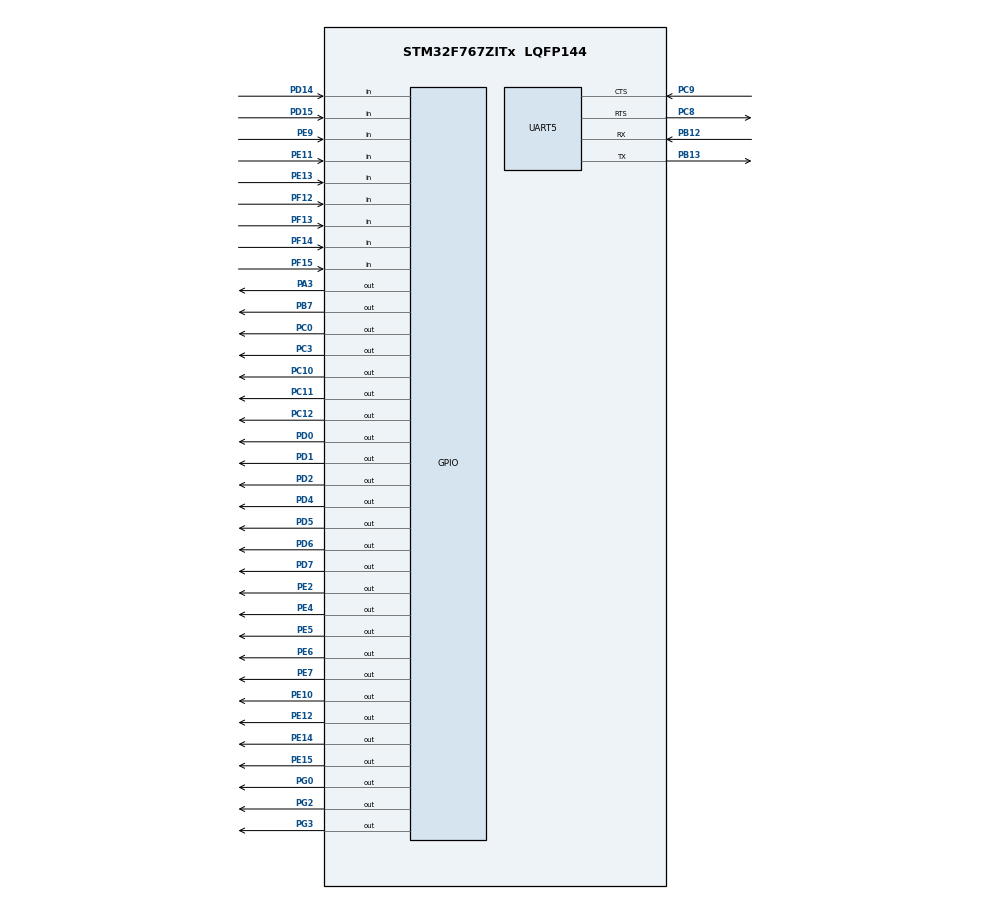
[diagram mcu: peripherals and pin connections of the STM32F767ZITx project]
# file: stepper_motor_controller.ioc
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Mcu.Family=STM32F7
Mcu.Name=STM32F767ZITx
Mcu.Package=LQFP144
NVIC.PriorityGroup=NVIC_PRIORITYGROUP_4
NVIC.UART5_IRQn=true\:0\:0\:false\:false\:true\:true\:true
PA3.Signal=GPIO_Output
PB12.Mode=Asynchronous
PB12.Signal=UART5_RX
PB13.Mode=Asynchronous
PB13.Signal=UART5_TX
PB7.Signal=GPIO_Output
PC0.Signal=GPIO_Output
PC10.Signal=GPIO_Output
PC11.Signal=GPIO_Output
PC12.Signal=GPIO_Output
PC14/OSC32_IN.Mode=LSE-External-Oscillator
PC14/OSC32_IN.Signal=RCC_OSC32_IN
PC15/OSC32_OUT.Mode=LSE-External-Oscillator
PC15/OSC32_OUT.Signal=RCC_OSC32_OUT
PC3.Signal=GPIO_Output
PC8.Mode=CTS_RTS
PC8.Signal=UART5_RTS
PC9.Mode=CTS_RTS
PC9.Signal=UART5_CTS
PD0.Signal=GPIO_Output
PD1.Signal=GPIO_Output
PD14.Signal=GPIO_Input
PD15.Signal=GPIO_Input
PD2.Signal=GPIO_Output
PD4.Signal=GPIO_Output
PD5.Signal=GPIO_Output
PD6.Signal=GPIO_Output
PD7.Signal=GPIO_Output
PE10.Signal=GPIO_Output
PE11.Signal=GPIO_Input
PE12.Signal=GPIO_Output
PE13.Signal=GPIO_Input
PE14.Signal=GPIO_Output
PE15.Signal=GPIO_Output
PE2.Signal=GPIO_Output
PE4.Signal=GPIO_Output
PE5.Signal=GPIO_Output
PE6.Signal=GPIO_Output
PE7.Signal=GPIO_Output
PE9.Signal=GPIO_Input
PF12.Signal=GPIO_Input
PF13.Signal=GPIO_Input
PF14.Signal=GPIO_Input
PF15.Signal=GPIO_Input
PG0.Signal=GPIO_Output
PG2.Signal=GPIO_Output
PG3.Signal=GPIO_Output
PH0/OSC_IN.Mode=HSE-External-Oscillator
PH0/OSC_IN.Signal=RCC_OSC_IN
PH1/OSC_OUT.Mode=HSE-External-Oscillator
PH1/OSC_OUT.Signal=RCC_OSC_OUT
ProjectManager.HeapSize=0x1000
ProjectManager.StackSize=0x400
ProjectManager.TargetToolchain=MDK-ARM V5
RCC.HSE_VALUE=25000000
RCC.HSI_VALUE=16000000
RCC.USBFreq_Value=96000000
RCC.VCOOutputFreq_Value=192000000
board=custom

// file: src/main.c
/* USER CODE BEGIN Header */
/**
  ******************************************************************************
  * @file           : main.c
  * @brief          : Main program body
  ******************************************************************************
  * @attention
  *
  * <h2><center>&copy; Copyright (c) 2019 STMicroelectronics.
  * All rights reserved.</center></h2>
  *
  * This software component is licensed by ST under BSD 3-Clause license,
  * the "License"; You may not use this file except in compliance with the
  * License. You may obtain a copy of the License at:
  *                        opensource.org/licenses/BSD-3-Clause
  *
  ******************************************************************************
  */
/* USER CODE END Header */

#include "main.h"

/* USER CODE BEGIN Includes */
#include "math.h"
#include "arm_math.h"
#include "h_cmd_move.h"

/* USER CODE END Includes */

UART_HandleTypeDef huart5;

/* USER CODE BEGIN PV */
uint8_t Rx_buff[100];
uint8_t Tx_buff[10];
int executionStage = 0;
uint8_t Tx_Pkt_Seq = 0;
/* USER CODE END PV */

void SystemClock_Config(void);
static void MX_GPIO_Init(void);
static void MX_GFXSIMULATOR_Init(void);
static void MX_UART5_Init(void);

/* USER CODE BEGIN 0 */
Pkt_Queue * Pkt_buffer;
/* USER CODE END 0 */

int main(void)
{
  /* USER CODE BEGIN 1 */
	H_CMD * currentPos = (H_CMD *)malloc(sizeof(H_CMD));
	H_CMD_Clear(currentPos);
	currentPos->x = 1;
	currentPos->y = 1;
	currentPos->z = 1;
  /* USER CODE END 1 */

  /* MCU Configuration--------------------------------------------------------*/

  /* Reset of all peripherals, Initializes the Flash interface and the Systick. */
  HAL_Init();

  /* Configure the system clock */
  SystemClock_Config();

  /* Initialize all configured peripherals */
  MX_GPIO_Init();
  MX_GFXSIMULATOR_Init();
  MX_UART5_Init();
  /* USER CODE BEGIN 2 */

	// SETUP BASIC STRUCTURES
	// initialize packet buffer to receive packets from host computer
	Pkt_buffer = (Pkt_Queue *)malloc(sizeof(Pkt_Queue));
	Pkt_Queue_Init(Pkt_buffer);
	// allows UART packets to be received from interrupts
	HAL_UART_Receive_IT(&huart5, (uint8_t *) Rx_buff,6);
	// initialize H_CMD buffer to move stepper motors
	H_CMD_Queue * H_buffer = (H_CMD_Queue *)malloc(sizeof(H_CMD_Queue)*2);
	H_CMD_Queue_Init(H_buffer);
	// initialize stepper motor objects to hold the current stage of motor movement
	Stepper * xStepper = (Stepper *)malloc(sizeof(Stepper));
	Stepper * yStepper = (Stepper *)malloc(sizeof(Stepper));
	Stepper * zStepper = (Stepper *)malloc(sizeof(Stepper));
	xStepper_Init(xStepper);
	yStepper_Init(yStepper);
	zStepper_Init(zStepper);
	motorsRelax(xStepper,yStepper,zStepper);

  /* USER CODE END 2 */

  /* Infinite loop */
  /* USER CODE BEGIN WHILE */
  while (1)
  {
		Pkt_Queue_Init(Pkt_buffer);
		// EXECUTION STAGE 0
		// THIS STAGE SIMPLY RECEIVES AND BUFFERS INCOMING PACKETS FROM PARSING COMPUTER
		// WHEN AN "END" COMMAND IS RECEIVED FROM THE PARSING COMPUTER, THEN THE EXECUTION
		// STAGE IS INCREASED
		while (executionStage == 0 || Pkt_buffer->size != 0) {
			if (Pkt_buffer->size != 0) {
				extractNextPacket(H_buffer);
			}
		}
		// EXECUTION STAGE 1
		// THIS STAGE IS WHERE THE PROGRAM BEGINS EXECUTING THE H-CODE COMMANDS, FIRST THE
		// COMMANDS ARE POPPED FROM THE BUFFER, THEN THE CORRECT MOVEMENT FUNCTION IS CALLED
		// BASED ON THE TYPE OF COMMAND IT IS

		while (executionStage == 1) {
			// __asm("nop"); used for debugging
			while (H_buffer->size != 0) {
				H_CMD * cmd = H_CMD_Queue_Pop(H_buffer);
				if (cmd->type == H29) continue;
				else if (cmd->type == H0) move_H0(cmd,currentPos,zStepper,xStepper,yStepper);
				else if (cmd->type == H1) move_H1(cmd,currentPos,zStepper,xStepper,yStepper);
				else if (cmd->type == H2) move_H2(cmd,currentPos,zStepper,xStepper,yStepper);
				else if (cmd->type == H3) move_H3(cmd,currentPos,zStepper,xStepper,yStepper);
				else if (cmd->type == H30) executionStage = 0;		// done processing H_CMDs
				free(cmd);
			}
			motorsRelax(xStepper,yStepper,zStepper);
		}
		HAL_Delay(1);

	  /* USER CODE END WHILE */

  }
}

void SystemClock_Config(void)
{
  RCC_OscInitTypeDef RCC_OscInitStruct = {0};
  RCC_ClkInitTypeDef RCC_ClkInitStruct = {0};
  RCC_PeriphCLKInitTypeDef PeriphClkInitStruct = {0};

  /** Configure LSE Drive Capability
  */
  HAL_PWR_EnableBkUpAccess();
  /** Configure the main internal regulator output voltage
  */
  __HAL_RCC_PWR_CLK_ENABLE();
  __HAL_PWR_VOLTAGESCALING_CONFIG(PWR_REGULATOR_VOLTAGE_SCALE3);
  /** Initializes the CPU, AHB and APB busses clocks
  */
  RCC_OscInitStruct.OscillatorType = RCC_OSCILLATORTYPE_HSI;
  RCC_OscInitStruct.HSIState = RCC_HSI_ON;
  RCC_OscInitStruct.HSICalibrationValue = RCC_HSICALIBRATION_DEFAULT;
  RCC_OscInitStruct.PLL.PLLState = RCC_PLL_NONE;
  if (HAL_RCC_OscConfig(&RCC_OscInitStruct) != HAL_OK)
  {
    Error_Handler();
  }
  /** Initializes the CPU, AHB and APB busses clocks
  */
  RCC_ClkInitStruct.ClockType = RCC_CLOCKTYPE_HCLK|RCC_CLOCKTYPE_SYSCLK
                              |RCC_CLOCKTYPE_PCLK1|RCC_CLOCKTYPE_PCLK2;
  RCC_ClkInitStruct.SYSCLKSource = RCC_SYSCLKSOURCE_HSI;
  RCC_ClkInitStruct.AHBCLKDivider = RCC_SYSCLK_DIV1;
  RCC_ClkInitStruct.APB1CLKDivider = RCC_HCLK_DIV1;
  RCC_ClkInitStruct.APB2CLKDivider = RCC_HCLK_DIV1;

  if (HAL_RCC_ClockConfig(&RCC_ClkInitStruct, FLASH_LATENCY_0) != HAL_OK)
  {
    Error_Handler();
  }
  PeriphClkInitStruct.PeriphClockSelection = RCC_PERIPHCLK_UART5;
  PeriphClkInitStruct.Uart5ClockSelection = RCC_UART5CLKSOURCE_PCLK1;
  if (HAL_RCCEx_PeriphCLKConfig(&PeriphClkInitStruct) != HAL_OK)
  {
    Error_Handler();
  }
}

static void MX_GFXSIMULATOR_Init(void)
{

}

static void MX_UART5_Init(void)
{

  huart5.Instance = UART5;
  huart5.Init.BaudRate = 115200;
  huart5.Init.WordLength = UART_WORDLENGTH_8B;
  huart5.Init.StopBits = UART_STOPBITS_1;
  huart5.Init.Parity = UART_PARITY_NONE;
  huart5.Init.Mode = UART_MODE_TX_RX;
  huart5.Init.HwFlowCtl = UART_HWCONTROL_RTS_CTS;
  huart5.Init.OverSampling = UART_OVERSAMPLING_16;
  huart5.Init.OneBitSampling = UART_ONE_BIT_SAMPLE_DISABLE;
  huart5.AdvancedInit.AdvFeatureInit = UART_ADVFEATURE_NO_INIT;
  if (HAL_UART_Init(&huart5) != HAL_OK)
  {
    Error_Handler();
  }

}

static void MX_GPIO_Init(void)
{
  GPIO_InitTypeDef GPIO_InitStruct = {0};

  /* GPIO Ports Clock Enable */
  __HAL_RCC_GPIOE_CLK_ENABLE();
  __HAL_RCC_GPIOC_CLK_ENABLE();
  __HAL_RCC_GPIOH_CLK_ENABLE();
  __HAL_RCC_GPIOA_CLK_ENABLE();
  __HAL_RCC_GPIOF_CLK_ENABLE();
  __HAL_RCC_GPIOG_CLK_ENABLE();
  __HAL_RCC_GPIOB_CLK_ENABLE();
  __HAL_RCC_GPIOD_CLK_ENABLE();

  /*Configure GPIO pin Output Level */
  HAL_GPIO_WritePin(GPIOE, GPIO_PIN_2|GPIO_PIN_4|GPIO_PIN_5|GPIO_PIN_6
                          |GPIO_PIN_7|GPIO_PIN_10|GPIO_PIN_12|GPIO_PIN_14
                          |GPIO_PIN_15, GPIO_PIN_RESET);

  /*Configure GPIO pin Output Level */
  HAL_GPIO_WritePin(GPIOC, GPIO_PIN_0|GPIO_PIN_3|GPIO_PIN_10|GPIO_PIN_11
                          |GPIO_PIN_12, GPIO_PIN_RESET);

  /*Configure GPIO pin Output Level */
  HAL_GPIO_WritePin(GPIOA, GPIO_PIN_3, GPIO_PIN_RESET);

  /*Configure GPIO pin Output Level */
  HAL_GPIO_WritePin(GPIOG, GPIO_PIN_0|GPIO_PIN_2|GPIO_PIN_3, GPIO_PIN_RESET);

  /*Configure GPIO pin Output Level */
  HAL_GPIO_WritePin(GPIOE, GPIO_PIN_13, GPIO_PIN_SET);

  /*Configure GPIO pin Output Level */
  HAL_GPIO_WritePin(GPIOD, GPIO_PIN_0|GPIO_PIN_1|GPIO_PIN_2|GPIO_PIN_4
                          |GPIO_PIN_5|GPIO_PIN_6|GPIO_PIN_7, GPIO_PIN_RESET);

  /*Configure GPIO pin Output Level */
  HAL_GPIO_WritePin(GPIOB, GPIO_PIN_7, GPIO_PIN_RESET);

  /*Configure GPIO pins : PE2 PE4 PE5 PE6
                           PE7 PE10 PE12 PE13
                           PE14 PE15 */
  GPIO_InitStruct.Pin = GPIO_PIN_2|GPIO_PIN_4|GPIO_PIN_5|GPIO_PIN_6
                          |GPIO_PIN_7|GPIO_PIN_10|GPIO_PIN_12|GPIO_PIN_13
                          |GPIO_PIN_14|GPIO_PIN_15;
  GPIO_InitStruct.Mode = GPIO_MODE_OUTPUT_PP;
  GPIO_InitStruct.Pull = GPIO_NOPULL;
  GPIO_InitStruct.Speed = GPIO_SPEED_FREQ_LOW;
  HAL_GPIO_Init(GPIOE, &GPIO_InitStruct);

  /*Configure GPIO pins : PC0 PC3 PC10 PC11
                           PC12 */
  GPIO_InitStruct.Pin = GPIO_PIN_0|GPIO_PIN_3|GPIO_PIN_10|GPIO_PIN_11
                          |GPIO_PIN_12;
  GPIO_InitStruct.Mode = GPIO_MODE_OUTPUT_PP;
  GPIO_InitStruct.Pull = GPIO_NOPULL;
  GPIO_InitStruct.Speed = GPIO_SPEED_FREQ_LOW;
  HAL_GPIO_Init(GPIOC, &GPIO_InitStruct);

  /*Configure GPIO pin : PA3 */
  GPIO_InitStruct.Pin = GPIO_PIN_3;
  GPIO_InitStruct.Mode = GPIO_MODE_OUTPUT_PP;
  GPIO_InitStruct.Pull = GPIO_NOPULL;
  GPIO_InitStruct.Speed = GPIO_SPEED_FREQ_LOW;
  HAL_GPIO_Init(GPIOA, &GPIO_InitStruct);

  /*Configure GPIO pins : PF12 PF13 PF14 */
  GPIO_InitStruct.Pin = GPIO_PIN_12|GPIO_PIN_13|GPIO_PIN_14;
  GPIO_InitStruct.Mode = GPIO_MODE_INPUT;
  GPIO_InitStruct.Pull = GPIO_NOPULL;
  HAL_GPIO_Init(GPIOF, &GPIO_InitStruct);

  /*Configure GPIO pin : PF15 */
  GPIO_InitStruct.Pin = GPIO_PIN_15;
  GPIO_InitStruct.Mode = GPIO_MODE_IT_RISING;
  GPIO_InitStruct.Pull = GPIO_PULLDOWN;
  HAL_GPIO_Init(GPIOF, &GPIO_InitStruct);

  /*Configure GPIO pins : PG0 PG2 PG3 */
  GPIO_InitStruct.Pin = GPIO_PIN_0|GPIO_PIN_2|GPIO_PIN_3;
  GPIO_InitStruct.Mode = GPIO_MODE_OUTPUT_PP;
  GPIO_InitStruct.Pull = GPIO_NOPULL;
  GPIO_InitStruct.Speed = GPIO_SPEED_FREQ_LOW;
  HAL_GPIO_Init(GPIOG, &GPIO_InitStruct);

  /*Configure GPIO pin : PE9 */
  GPIO_InitStruct.Pin = GPIO_PIN_9;
  GPIO_InitStruct.Mode = GPIO_MODE_IT_RISING;
  GPIO_InitStruct.Pull = GPIO_NOPULL;
  HAL_GPIO_Init(GPIOE, &GPIO_InitStruct);

  /*Configure GPIO pin : PE11 */
  GPIO_InitStruct.Pin = GPIO_PIN_11;
  GPIO_InitStruct.Mode = GPIO_MODE_INPUT;
  GPIO_InitStruct.Pull = GPIO_NOPULL;
  HAL_GPIO_Init(GPIOE, &GPIO_InitStruct);

  /*Configure GPIO pins : PD14 PD15 */
  GPIO_InitStruct.Pin = GPIO_PIN_14|GPIO_PIN_15;
  GPIO_InitStruct.Mode = GPIO_MODE_INPUT;
  GPIO_InitStruct.Pull = GPIO_NOPULL;
  HAL_GPIO_Init(GPIOD, &GPIO_InitStruct);

  /*Configure GPIO pins : PD0 PD1 PD2 PD4
                           PD5 PD6 PD7 */
  GPIO_InitStruct.Pin = GPIO_PIN_0|GPIO_PIN_1|GPIO_PIN_2|GPIO_PIN_4
                          |GPIO_PIN_5|GPIO_PIN_6|GPIO_PIN_7;
  GPIO_InitStruct.Mode = GPIO_MODE_OUTPUT_PP;
  GPIO_InitStruct.Pull = GPIO_NOPULL;
  GPIO_InitStruct.Speed = GPIO_SPEED_FREQ_LOW;
  HAL_GPIO_Init(GPIOD, &GPIO_InitStruct);

  /*Configure GPIO pin : PB7 */
  GPIO_InitStruct.Pin = GPIO_PIN_7;
  GPIO_InitStruct.Mode = GPIO_MODE_OUTPUT_PP;
  GPIO_InitStruct.Pull = GPIO_NOPULL;
  GPIO_InitStruct.Speed = GPIO_SPEED_FREQ_LOW;
  HAL_GPIO_Init(GPIOB, &GPIO_InitStruct);

  /* EXTI interrupt init*/
  HAL_NVIC_SetPriority(EXTI9_5_IRQn, 0, 0);
  HAL_NVIC_EnableIRQ(EXTI9_5_IRQn);

  HAL_NVIC_SetPriority(EXTI15_10_IRQn, 0, 0);
  HAL_NVIC_EnableIRQ(EXTI15_10_IRQn);

}

/* USER CODE BEGIN 4 */
void HAL_UART_RxCpltCallback(UART_HandleTypeDef *huart) {
	// after receiving one packet program goes here
	Pkt * newPacket = (Pkt *)malloc(sizeof(Pkt)*2);
	for (int i = 0; i < 6; i++) {
		newPacket->data[i] = Rx_buff[i];
	}
	Pkt_Queue_Push(newPacket);

	// reset system to receive another 6 bytes of packet starting a zero index of Rx_Buffer
	Tx_buff[0] = Rx_buff[0] & ~15;
	Tx_buff[0] |= 9;
	Tx_buff[1] = Rx_buff[1] & ~15;
	Tx_buff[1] |= 9;
	for (int i = 2; i < 6; i++) {
		Tx_buff[i] = 0xFF;
	}
	if ((Rx_buff[0] & 15) == 15) executionStage = 1; // set execution stage to processing H_CMDs
	HAL_UART_Transmit_IT(&huart5, (uint8_t *) Tx_buff,6); // transmit ACK
	HAL_UART_Receive_IT(&huart5, (uint8_t *) Rx_buff,6); // sets up system to receive another packet
}

void HAL_UART_TxCpltCallback(UART_HandleTypeDef *huart) {
	// system calls this funciton when all bytes in Tx_buffer are transmitted
}

void HAL_GPIO_EXTI_Callback(uint16_t GPIO_Pin) {
	if (GPIO_Pin == GPIO_PIN_15) {
		__ASM("nop");
	}
}

/*void EXTI15_10_IRQHandler(void) {

}
*/
/* USER CODE END 4 */

void Error_Handler(void)
{
}

/************************ (C) COPYRIGHT STMicroelectronics *****END OF FILE****/
